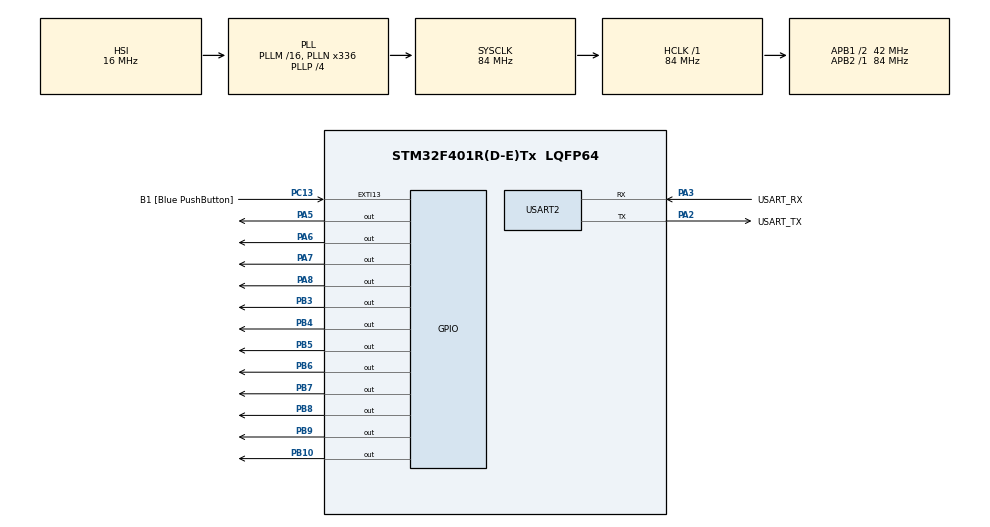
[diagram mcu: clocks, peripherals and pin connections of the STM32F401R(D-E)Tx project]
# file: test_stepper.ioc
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Mcu.Family=STM32F4
Mcu.Name=STM32F401R(D-E)Tx
Mcu.Package=LQFP64
NVIC.PriorityGroup=NVIC_PRIORITYGROUP_0
PA13.GPIO_Label=TMS
PA13.Mode=Serial_Wire
PA13.Signal=SYS_JTMS-SWDIO
PA14.GPIO_Label=TCK
PA14.Mode=Serial_Wire
PA14.Signal=SYS_JTCK-SWCLK
PA2.GPIO_Label=USART_TX
PA2.GPIO_Mode=GPIO_MODE_AF_PP
PA2.GPIO_PuPd=GPIO_NOPULL
PA2.GPIO_Speed=GPIO_SPEED_FREQ_LOW
PA2.Mode=Asynchronous
PA2.Signal=USART2_TX
PA3.GPIO_Label=USART_RX
PA3.GPIO_Mode=GPIO_MODE_AF_PP
PA3.GPIO_PuPd=GPIO_NOPULL
PA3.GPIO_Speed=GPIO_SPEED_FREQ_LOW
PA3.Mode=Asynchronous
PA3.Signal=USART2_RX
PA5.Signal=GPIO_Output
PA6.Signal=GPIO_Output
PA7.Signal=GPIO_Output
PA8.Signal=GPIO_Output
PB10.Signal=GPIO_Output
PB3.Signal=GPIO_Output
PB4.Signal=GPIO_Output
PB5.Signal=GPIO_Output
PB6.Signal=GPIO_Output
PB7.Signal=GPIO_Output
PB8.Signal=GPIO_Output
PB9.Signal=GPIO_Output
PC13-ANTI_TAMP.GPIO_Label=B1 [Blue PushButton]
PC13-ANTI_TAMP.GPIO_ModeDefaultEXTI=GPIO_MODE_IT_FALLING
PC13-ANTI_TAMP.GPIO_PuPd=GPIO_NOPULL
PC13-ANTI_TAMP.Signal=GPXTI13
PC14-OSC32_IN.Mode=LSE-External-Oscillator
PC14-OSC32_IN.Signal=RCC_OSC32_IN
PC15-OSC32_OUT.Mode=LSE-External-Oscillator
PC15-OSC32_OUT.Signal=RCC_OSC32_OUT
PH0\ -\ OSC_IN.Mode=HSE-External-Clock-Source
PH0\ -\ OSC_IN.Signal=RCC_OSC_IN
PH1\ -\ OSC_OUT.Mode=HSE-External-Clock-Source
PH1\ -\ OSC_OUT.Signal=RCC_OSC_OUT
ProjectManager.HeapSize=0x200
ProjectManager.StackSize=0x400
ProjectManager.TargetToolchain=STM32CubeIDE
RCC.48MHZClocksFreq_Value=48000000
RCC.AHBFreq_Value=84000000
RCC.APB1CLKDivider=RCC_HCLK_DIV2
RCC.APB1Freq_Value=42000000
RCC.APB1TimFreq_Value=84000000
RCC.APB2Freq_Value=84000000
RCC.APB2TimFreq_Value=84000000
RCC.CortexFreq_Value=84000000
RCC.HCLKFreq_Value=84000000
RCC.HSE_VALUE=8000000
RCC.HSI_VALUE=16000000
RCC.PLLN=336
RCC.PLLP=RCC_PLLP_DIV4
RCC.PLLQ=7
RCC.SYSCLKFreq_VALUE=84000000
RCC.SYSCLKSource=RCC_SYSCLKSOURCE_PLLCLK
RCC.VCOOutputFreq_Value=336000000
USART2.VirtualMode=VM_ASYNC
board=NUCLEO-F401RE

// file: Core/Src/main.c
/* USER CODE BEGIN Header */
/**
  ******************************************************************************
  * @file           : main.c
  * @brief          : Main program body
  ******************************************************************************
  * @attention
  *
  * Copyright (c) 2024 STMicroelectronics.
  * All rights reserved.
  *
  * This software is licensed under terms that can be found in the LICENSE file
  * in the root directory of this software component.
  * If no LICENSE file comes with this software, it is provided AS-IS.
  *
  ******************************************************************************
  */
/* USER CODE END Header */
#include "main.h"

UART_HandleTypeDef huart2;

void SystemClock_Config(void);
static void MX_GPIO_Init(void);
static void MX_USART2_UART_Init(void);

/* USER CODE BEGIN 0 */

int A4988_POWER_GPIO = GPIOB; //PB8 D15
int A4988_POWER_PIN = GPIO_PIN_8;

int ENABLE_GPIO = GPIOB;// PB9 D14
int ENABLE_PIN = GPIO_PIN_9;

int DIR_FRONT_LEFT_GPIO = GPIOA; // PA5 D13
int DIR_FRONT_LEFT_PIN = GPIO_PIN_5;
int STEP_FRONT_LEFT_GPIO = GPIOA; // PA6 D12
int STEP_FRONT_LEFT_PIN = GPIO_PIN_6;

int DIR_BACK_LEFT_GPIO = GPIOA; // PA7 D11
int DIR_BACK_LEFT_PIN = GPIO_PIN_7;
int STEP_BACK_LEFT_GPIO = GPIOA; // PA8 D7
int STEP_BACK_LEFT_PIN = GPIO_PIN_8;

int DIR_FRONT_RIGHT_GPIO = GPIOB; // PB10 D6
int DIR_FRONT_RIGHT_PIN = GPIO_PIN_10;
int STEP_FRONT_RIGHT_GPIO = GPIOB; // PB4 D5
int STEP_FRONT_RIGHT_PIN = GPIO_PIN_4;

int DIR_BACK_RIGHT_GPIO = GPIOB;// PB5 D4
int DIR_BACK_RIGHT_PIN = GPIO_PIN_5;
int STEP_BACK_RIGHT_GPIO = GPIOB; // PB3 D3
int STEP_BACK_RIGHT_PIN = GPIO_PIN_3;

void set_forward_dir()
{
	HAL_GPIO_WritePin(DIR_FRONT_LEFT_GPIO, DIR_FRONT_LEFT_PIN, 1);
	HAL_GPIO_WritePin(DIR_BACK_LEFT_GPIO, DIR_BACK_LEFT_PIN, 1);
	HAL_GPIO_WritePin(DIR_FRONT_RIGHT_GPIO, DIR_FRONT_RIGHT_PIN, 1);
	HAL_GPIO_WritePin(DIR_BACK_RIGHT_GPIO, DIR_BACK_RIGHT_PIN, 1);
}
void set_backward_dir()
{
	HAL_GPIO_WritePin(DIR_FRONT_LEFT_GPIO, DIR_FRONT_LEFT_PIN, 0);
	HAL_GPIO_WritePin(DIR_BACK_LEFT_GPIO, DIR_BACK_LEFT_PIN, 0);
	HAL_GPIO_WritePin(DIR_FRONT_RIGHT_GPIO, DIR_FRONT_RIGHT_PIN, 0);
	HAL_GPIO_WritePin(DIR_BACK_RIGHT_GPIO, DIR_BACK_RIGHT_PIN, 0);
}
void set_left_dir()
{
	HAL_GPIO_WritePin(DIR_FRONT_LEFT_GPIO, DIR_FRONT_LEFT_PIN, 0);
	HAL_GPIO_WritePin(DIR_BACK_LEFT_GPIO, DIR_BACK_LEFT_PIN, 1);
	HAL_GPIO_WritePin(DIR_FRONT_RIGHT_GPIO, DIR_FRONT_RIGHT_PIN, 1);
	HAL_GPIO_WritePin(DIR_BACK_RIGHT_GPIO, DIR_BACK_RIGHT_PIN, 0);
}
void set_right_dir()
{
	HAL_GPIO_WritePin(DIR_FRONT_LEFT_GPIO, DIR_FRONT_LEFT_PIN, 1);
	HAL_GPIO_WritePin(DIR_BACK_LEFT_GPIO, DIR_BACK_LEFT_PIN, 0);
	HAL_GPIO_WritePin(DIR_FRONT_RIGHT_GPIO, DIR_FRONT_RIGHT_PIN, 0);
	HAL_GPIO_WritePin(DIR_BACK_RIGHT_GPIO, DIR_BACK_RIGHT_PIN, 1);
}
void set_ccw_dir()
{
	HAL_GPIO_WritePin(DIR_FRONT_LEFT_GPIO, DIR_FRONT_LEFT_PIN, 0);
		HAL_GPIO_WritePin(DIR_BACK_LEFT_GPIO, DIR_BACK_LEFT_PIN, 0);
		HAL_GPIO_WritePin(DIR_FRONT_RIGHT_GPIO, DIR_FRONT_RIGHT_PIN, 1);
		HAL_GPIO_WritePin(DIR_BACK_RIGHT_GPIO, DIR_BACK_RIGHT_PIN, 1);
}
void set_cw_dir()
{
	HAL_GPIO_WritePin(DIR_FRONT_LEFT_GPIO, DIR_FRONT_LEFT_PIN, 1);
		HAL_GPIO_WritePin(DIR_BACK_LEFT_GPIO, DIR_BACK_LEFT_PIN, 1);
		HAL_GPIO_WritePin(DIR_FRONT_RIGHT_GPIO, DIR_FRONT_RIGHT_PIN, 0);
		HAL_GPIO_WritePin(DIR_BACK_RIGHT_GPIO, DIR_BACK_RIGHT_PIN, 0);
}
void move(int steps, void(*func)() ) {
	HAL_GPIO_WritePin(ENABLE_GPIO, ENABLE_PIN, 0);
	func();
	for(int i = 0;i < steps;i++)
	{
        HAL_GPIO_WritePin(STEP_FRONT_LEFT_GPIO, STEP_FRONT_LEFT_PIN, 1);
        HAL_GPIO_WritePin(STEP_BACK_LEFT_GPIO, STEP_BACK_LEFT_PIN, 1);
        HAL_GPIO_WritePin(STEP_FRONT_RIGHT_GPIO, STEP_FRONT_RIGHT_PIN, 1);
        HAL_GPIO_WritePin(STEP_BACK_RIGHT_GPIO, STEP_BACK_RIGHT_PIN, 1);

        HAL_Delay(1); // Adjust delay for desired speed
        HAL_GPIO_WritePin(STEP_FRONT_LEFT_GPIO, STEP_FRONT_LEFT_PIN, 0);
		HAL_GPIO_WritePin(STEP_BACK_LEFT_GPIO, STEP_BACK_LEFT_PIN, 0);
		HAL_GPIO_WritePin(STEP_FRONT_RIGHT_GPIO, STEP_FRONT_RIGHT_PIN, 0);
		HAL_GPIO_WritePin(STEP_BACK_RIGHT_GPIO, STEP_BACK_RIGHT_PIN, 0);
        HAL_Delay(1); // Adjust delay for desired speed
	}
	HAL_GPIO_WritePin(ENABLE_GPIO, ENABLE_PIN, 1);
}
void move_forward(steps)
{
	move(steps, set_forward_dir);
}
void move_backward(steps)
{
	move(steps, set_backward_dir);
}
void move_left(steps)
{
	move(steps, set_left_dir);
}
void move_right(steps)
{
	move(steps, set_right_dir);
}
void move_ccw(steps)
{
	move(steps, set_ccw_dir);
}
void move_cw(steps)
{
	move(steps, set_cw_dir);
}
/* USER CODE END 0 */

int main(void)
{

  /* MCU Configuration--------------------------------------------------------*/

  /* Reset of all peripherals, Initializes the Flash interface and the Systick. */
  HAL_Init();

  /* Configure the system clock */
  SystemClock_Config();

  /* Initialize all configured peripherals */
  MX_GPIO_Init();
  MX_USART2_UART_Init();

  /* Infinite loop */
  /* USER CODE BEGIN WHILE */
  while (1)
  {
	  move_forward(200);
	  HAL_Delay(2000);
	  move_right(400);
	  HAL_Delay(2000);
	  move_backward(200);
	  HAL_Delay(2000);
	  move_left(400);
	  HAL_Delay(2000);
	  move_ccw(200);
	  HAL_Delay(2000);
	  move_cw(200);
	  HAL_Delay(2000);

    /* USER CODE END WHILE */

  }
}

void SystemClock_Config(void)
{
  RCC_OscInitTypeDef RCC_OscInitStruct = {0};
  RCC_ClkInitTypeDef RCC_ClkInitStruct = {0};

  /** Configure the main internal regulator output voltage
  */
  __HAL_RCC_PWR_CLK_ENABLE();
  __HAL_PWR_VOLTAGESCALING_CONFIG(PWR_REGULATOR_VOLTAGE_SCALE2);

  /** Initializes the RCC Oscillators according to the specified parameters
  * in the RCC_OscInitTypeDef structure.
  */
  RCC_OscInitStruct.OscillatorType = RCC_OSCILLATORTYPE_HSI;
  RCC_OscInitStruct.HSIState = RCC_HSI_ON;
  RCC_OscInitStruct.HSICalibrationValue = RCC_HSICALIBRATION_DEFAULT;
  RCC_OscInitStruct.PLL.PLLState = RCC_PLL_ON;
  RCC_OscInitStruct.PLL.PLLSource = RCC_PLLSOURCE_HSI;
  RCC_OscInitStruct.PLL.PLLM = 16;
  RCC_OscInitStruct.PLL.PLLN = 336;
  RCC_OscInitStruct.PLL.PLLP = RCC_PLLP_DIV4;
  RCC_OscInitStruct.PLL.PLLQ = 7;
  if (HAL_RCC_OscConfig(&RCC_OscInitStruct) != HAL_OK)
  {
    Error_Handler();
  }

  /** Initializes the CPU, AHB and APB buses clocks
  */
  RCC_ClkInitStruct.ClockType = RCC_CLOCKTYPE_HCLK|RCC_CLOCKTYPE_SYSCLK
                              |RCC_CLOCKTYPE_PCLK1|RCC_CLOCKTYPE_PCLK2;
  RCC_ClkInitStruct.SYSCLKSource = RCC_SYSCLKSOURCE_PLLCLK;
  RCC_ClkInitStruct.AHBCLKDivider = RCC_SYSCLK_DIV1;
  RCC_ClkInitStruct.APB1CLKDivider = RCC_HCLK_DIV2;
  RCC_ClkInitStruct.APB2CLKDivider = RCC_HCLK_DIV1;

  if (HAL_RCC_ClockConfig(&RCC_ClkInitStruct, FLASH_LATENCY_2) != HAL_OK)
  {
    Error_Handler();
  }
}

static void MX_USART2_UART_Init(void)
{

  huart2.Instance = USART2;
  huart2.Init.BaudRate = 115200;
  huart2.Init.WordLength = UART_WORDLENGTH_8B;
  huart2.Init.StopBits = UART_STOPBITS_1;
  huart2.Init.Parity = UART_PARITY_NONE;
  huart2.Init.Mode = UART_MODE_TX_RX;
  huart2.Init.HwFlowCtl = UART_HWCONTROL_NONE;
  huart2.Init.OverSampling = UART_OVERSAMPLING_16;
  if (HAL_UART_Init(&huart2) != HAL_OK)
  {
    Error_Handler();
  }

}

static void MX_GPIO_Init(void)
{
  GPIO_InitTypeDef GPIO_InitStruct = {0};

  /* GPIO Ports Clock Enable */
  __HAL_RCC_GPIOC_CLK_ENABLE();
  __HAL_RCC_GPIOH_CLK_ENABLE();
  __HAL_RCC_GPIOA_CLK_ENABLE();
  __HAL_RCC_GPIOB_CLK_ENABLE();

  /*Configure GPIO pin Output Level */
  HAL_GPIO_WritePin(GPIOA, GPIO_PIN_5|GPIO_PIN_6|GPIO_PIN_7|GPIO_PIN_8, GPIO_PIN_RESET);

  /*Configure GPIO pin Output Level */
  HAL_GPIO_WritePin(GPIOB, GPIO_PIN_10|GPIO_PIN_3|GPIO_PIN_4|GPIO_PIN_5
                          |GPIO_PIN_6|GPIO_PIN_7|GPIO_PIN_8|GPIO_PIN_9, GPIO_PIN_RESET);

  /*Configure GPIO pin : B1_Pin */
  GPIO_InitStruct.Pin = B1_Pin;
  GPIO_InitStruct.Mode = GPIO_MODE_IT_FALLING;
  GPIO_InitStruct.Pull = GPIO_NOPULL;
  HAL_GPIO_Init(B1_GPIO_Port, &GPIO_InitStruct);

  /*Configure GPIO pins : PA5 PA6 PA7 PA8 */
  GPIO_InitStruct.Pin = GPIO_PIN_5|GPIO_PIN_6|GPIO_PIN_7|GPIO_PIN_8;
  GPIO_InitStruct.Mode = GPIO_MODE_OUTPUT_PP;
  GPIO_InitStruct.Pull = GPIO_NOPULL;
  GPIO_InitStruct.Speed = GPIO_SPEED_FREQ_LOW;
  HAL_GPIO_Init(GPIOA, &GPIO_InitStruct);

  /*Configure GPIO pins : PB10 PB3 PB4 PB5
                           PB6 PB7 PB8 PB9 */
  GPIO_InitStruct.Pin = GPIO_PIN_10|GPIO_PIN_3|GPIO_PIN_4|GPIO_PIN_5
                          |GPIO_PIN_6|GPIO_PIN_7|GPIO_PIN_8|GPIO_PIN_9;
  GPIO_InitStruct.Mode = GPIO_MODE_OUTPUT_PP;
  GPIO_InitStruct.Pull = GPIO_NOPULL;
  GPIO_InitStruct.Speed = GPIO_SPEED_FREQ_LOW;
  HAL_GPIO_Init(GPIOB, &GPIO_InitStruct);

}

void Error_Handler(void)
{
  __disable_irq();
  while (1)
  {
  }
}
